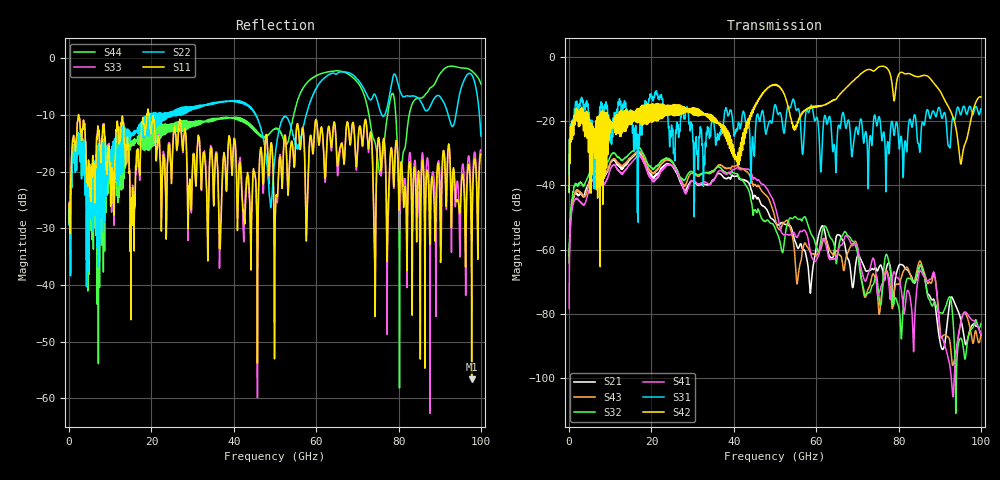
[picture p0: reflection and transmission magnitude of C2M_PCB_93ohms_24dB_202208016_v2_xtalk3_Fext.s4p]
! Info: Touchstone file created by Circ.  Input file=Intel_C2M_200G_9p5in_202208016_staggered.circ
# Hz S RI R 50
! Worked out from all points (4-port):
!   10000 points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, 10 MHz to 100 GHz, reference 50 ohm
!   strongest paths, dB at 10 MHz, 25.01 GHz, 50.01 GHz, 75.01 GHz, 100 GHz:
!     S42: -42.1, -16.9, -8.6, -3.4, -12.5
!     S31: -42.3, -24.1, -14.9, -19.7, -16.2
!     S41: -78.3, -33.9, -46.4, -73.9, -86.2
!     S32: -64.2, -32.5, -53.4, -71.5, -83.0
!     S43: -63.8, -32.7, -50.2, -76.0, -86.7
!     S21: -61.7, -34.0, -51.5, -66.3, -86.4
!   lowest |S11| = -56.6 dB at 97.76 GHz (marker M1), VSWR 1.00, Z = 50.1 - j0.0533 ohm
!   |S11| at or under -10 dB: start of sweep to 18.87 GHz; 19.45 GHz to end of sweep
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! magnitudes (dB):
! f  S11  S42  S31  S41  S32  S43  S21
! 10 MHz  -29.0  -42.1  -42.3  -78.3  -64.2  -63.8  -61.7
! 1.37 GHz  -14.8  -20.7  -16.6  -44.7  -40.2  -42.9  -42.7
! 16.94 GHz  -18.6  -20.0  -24.3  -30.9  -28.3  -29.5  -29.9
! 66.42 GHz  -15.9  -10.8  -17.5  -58.1  -55.5  -64.3  -57.0
! 80.34 GHz  -22.3  -5.0  -27.2  -70.1  -80.6  -70.1  -64.6
! 97.76 GHz  -56.6  -18.6  -17.0  -81.8  -84.6  -87.3  -83.6
! 100 GHz  -16.9  -12.5  -16.2  -86.2  -83.0  -86.7  -86.4
